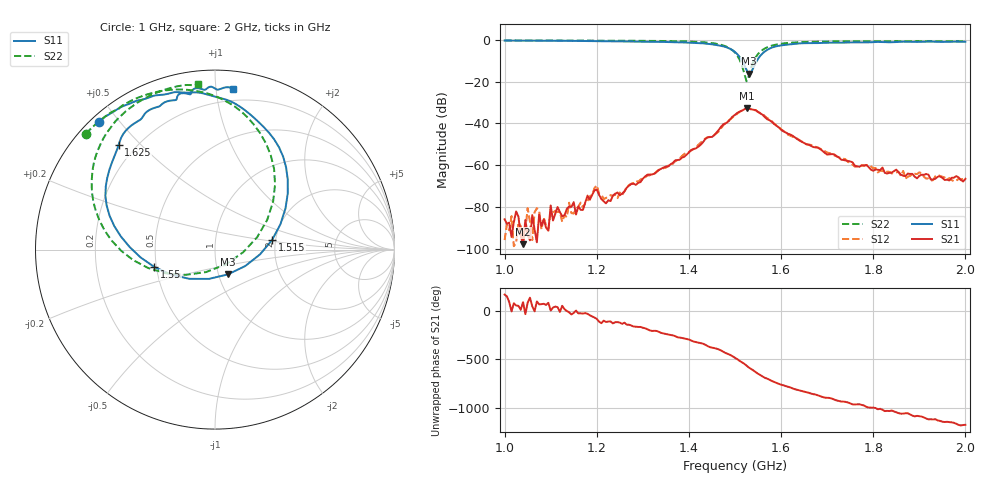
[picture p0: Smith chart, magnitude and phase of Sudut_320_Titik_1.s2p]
# Hz S RI R 50
! CMT, C1220, 16058040, 17.2.0/1
! Date: 14/08/2018 12:58:59
! Data: Format (Calibration Info)
! Freq  S11: Re/Im (F2)  S21: Re/Im (F2)  S12: Re/Im (F2)  S22: Re/Im (F2)
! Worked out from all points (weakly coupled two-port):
!   201 points, 1 GHz to 2 GHz, reference 50 ohm
!   highest |S21| = -32.64 dB at 1.525 GHz (marker M1); lowest = -97.8 dB at 1.04 GHz (marker M2)
!   lowest |S11| = -16.2 dB at 1.53 GHz (marker M3), VSWR 1.37, Z = 55.3 - j15.7 ohm
!   |S11| at or under -10 dB: 1.515 GHz to 1.548 GHz (32.24 MHz wide, 2.1 % of centre)
!   |S22| runs from -19.8 to -0.3 dB; largest |S21 - S12| = 0.00098
!   S11 on the Smith chart (normalised r, x): 1 GHz: 0.02, +0.44; 1.515 GHz: 1.91, +0.23; 1.55 GHz: 0.49, -0.11; 1.625 GHz: 0.14, +0.43; 2 GHz: 0.12, +1.11
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1e9  -0.6478 0.7117  -5e-05 9.74e-06  1.57e-05 4.23e-06  -0.719 0.6458
1.04e9  -0.6126 0.7404  -5.55e-08 1.29e-05  1.38e-05 3.66e-06  -0.69 0.6749
1.17e9  -0.4629 0.8185  7.61e-05 -3.87e-05  9.72e-05 -9.1e-06  -0.5767 0.7657
1.2e9  -0.4194 0.833  3.83e-05 -0.000261  -5.58e-06 -0.00033  -0.5428 0.7777
1.22e9  -0.3916 0.839  -4.86e-05 -0.000112  -1.72e-05 -0.000164  -0.5306 0.7911
1.245e9  -0.3508 0.8541  -9.34e-05 -0.000203  -7.44e-05 -0.000146  -0.5013 0.8114
1.335e9  -0.1921 0.8758  -0.000628 0.000453  -0.0006 0.000502  -0.3597 0.87
1.45e9  0.1913 0.7571  0.00453 -0.00148  0.00457 -0.0018  0.0458 0.8347
1.5e9  0.4055 0.3137  -0.00873 -0.0135  -0.0082 -0.0127  0.3347 0.3624
1.515e9  0.3178 0.0529  -0.0198 -0.00393  -0.0199 -0.0045  0.2351 0.0694
1.525e9  0.1676 -0.0922  -0.0215 0.00911  -0.0217 0.00912  0.0612 -0.0817
1.53e9  0.0713 -0.1383  -0.0165 0.0154  -0.0167 0.0155  -0.0496 -0.1251
1.55e9  -0.3372 -0.0973  0.00563 0.018  0.00499 0.0182  -0.4546 -0.0595
1.58e9  -0.6037 0.2458  0.0109 -0.000374  0.0112 -0.000796  -0.6779 0.2675
1.625e9  -0.5373 0.5823  0.00105 -0.00498  0.00115 -0.0047  -0.6487 0.563
1.67e9  -0.4238 0.7188  -0.00201 -0.00184  -0.00209 -0.002  -0.5657 0.701
1.76e9  -0.2547 0.829  -0.000436 0.000877  -0.000434 0.000818  -0.4205 0.8258
1.835e9  -0.1388 0.8648  0.000439 0.000493  0.000396 0.000573  -0.3149 0.8784
1.87e9  -0.1037 0.8995  0.000496 0.00024  0.000459 0.000154  -0.2675 0.8947
1.9e9  -0.0512 0.8926  0.000555 -4.15e-05  0.000668 -0.0001  -0.2254 0.9062
1.925e9  -0.02 0.9073  0.000367 -0.00027  0.000375 -0.00021  -0.1921 0.9129
2e9  0.0978 0.8967  -2.82e-05 -0.000472  -4.03e-05 -0.000514  -0.0971 0.9224
